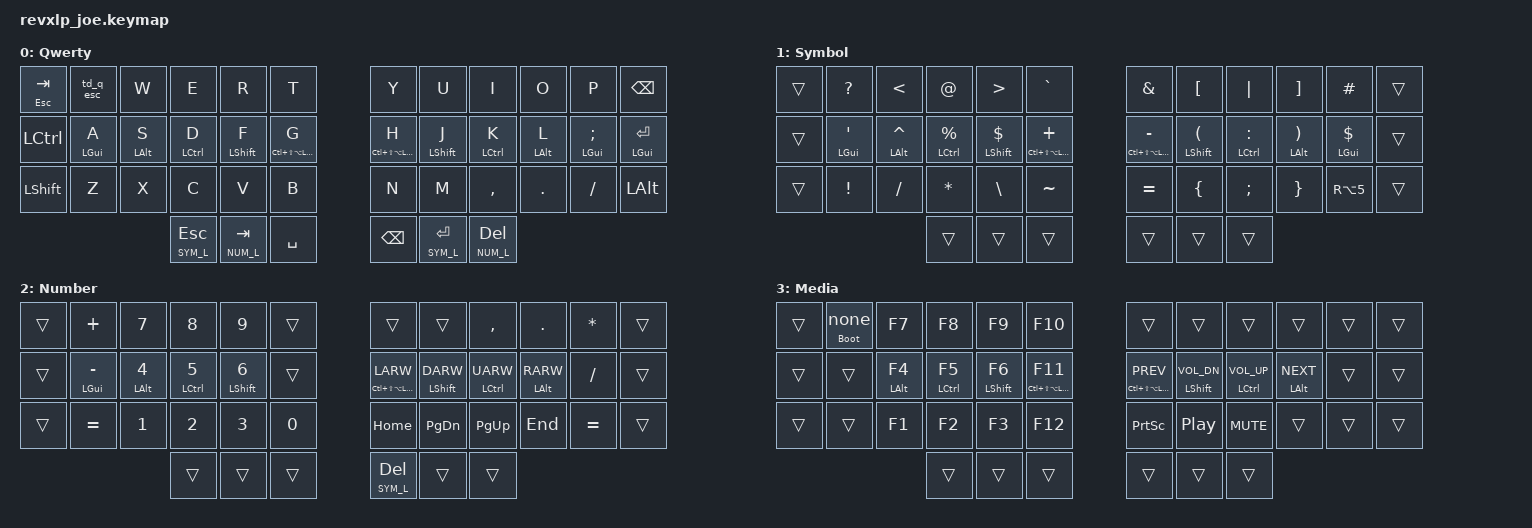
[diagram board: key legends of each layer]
/*
 * Copyright (c) 2020 The ZMK Contributors
 *
 * SPDX-License-Identifier: MIT
 */

#include <behaviors.dtsi>
#include <dt-bindings/zmk/keys.h>
#include <dt-bindings/zmk/bt.h>
#include <dt-bindings/zmk/backlight.h>

#include "./helpers/keypos_42keys.h"

#define SYM_L 1
#define NUM_L 2
#define MED_L 3

#define HYPER       LC(LS(LA(LGUI)))  // hyper key
#define INT_EUR     RA(N5)            // symbol eur

/ {
    tap_dances {
      td_q_esc: td_q_esc {
        compatible = "zmk,behavior-tap-dance";
        #binding-cells = <0>;
        tapping-term-ms = <200>;
        bindings = <&kp Q>, <&kp ESC>; 
      };
      // td_e_find: td_e_find {
      //   compatible = "zmk,behavior-tap-dance";
      //   #binding-cells = <0>;
      //   tapping-term-ms = <200>;
      //   bindings = <&kp E>, <&kp K_FIND>; 
      // };
      // td_y_redo: td_y_redo {
      //   compatible = "zmk,behavior-tap-dance";
      //   #binding-cells = <0>;
      //   tapping-term-ms = <200>;
      //   bindings = <&kp Y>, <&kp K_REDO>; 
      // };
      // td_z_undo: td_z_undo {
      //   compatible = "zmk,behavior-tap-dance";
      //   #binding-cells = <0>;
      //   tapping-term-ms = <200>;
      //   bindings = <&kp Z>, <&kp K_UNDO>; 
      // };
      // td_x_cut: td_x_cut {
      //   compatible = "zmk,behavior-tap-dance";
      //   #binding-cells = <0>;
      //   tapping-term-ms = <200>;
      //   bindings = <&kp X>, <&kp K_CUT>; 
      // };
      // td_c_copy: td_c_copy {
      //   compatible = "zmk,behavior-tap-dance";
      //   #binding-cells = <0>;
      //   tapping-term-ms = <200>;
      //   bindings = <&kp X>, <&kp K_CUT>; 
      // };
      // td_v_paste: td_v_paste {
      //   compatible = "zmk,behavior-tap-dance";
      //   #binding-cells = <0>;
      //   tapping-term-ms = <200>;
      //   bindings = <&kp V>, <&kp K_PASTE>; 
      // };
    };

    behaviors {
        // REF: https://github.com/folke/zmk-config/blob/main/config/includes/mods.dtsi
        hml: homerow_mods_left {
            compatible = "zmk,behavior-hold-tap";
            #binding-cells = <2>;
            bindings = <&kp>, <&kp>;
            flavor = "balanced";
            tapping-term-ms = <280>;
            quick-tap-ms = <175>;
            hold-trigger-key-positions = <RIGHT_HAND THUMBS>;
            hold-trigger-on-release;
            // global-quick-tap-ms = <150>;         // requires PR #1387
            // global-quick-tap;
        };

        hmr: homerow_mods_right {
            compatible = "zmk,behavior-hold-tap";
            #binding-cells = <2>;
            bindings = <&kp>, <&kp>;
            flavor = "balanced";
            tapping-term-ms = <280>;
            quick-tap-ms = <175>;
            hold-trigger-key-positions = <LEFT_HAND THUMBS>;
            hold-trigger-on-release;
            // global-quick-tap-ms = <150>;         // requires PR #1387
            // global-quick-tap;
        };

        blp: bootloader_long_press {
            compatible = "zmk,behavior-hold-tap";
            label = "BOOTLOADER_LONG_PRESS";
            #binding-cells = <2>;
            bindings = <&bootloader>, <&none>;
            tapping-term-ms = <3000>;
        };
    };

    cond_layers {
        compatible = "zmk,conditional-layers";
        tri {
          if-layers = <NUM_L SYM_L>;
          then-layer = <MED_L>;
        };
    };

    combos {
        compatible = "zmk,combos";
        bootloader_combo {
            timeout-ms = <50>;
            key-positions = <5 6>;
            bindings = <&bootloader>;
            layers = <MED_L>;
        };
    };

    keymap {
        compatible = "zmk,keymap";

        qwerty_layer {
            label = "Qwerty";
            bindings = <
&hml ESC TAB  &td_q_esc       &kp W            &kp E               &kp R              &kp T           &kp Y            &kp U              &kp I           &kp O              &kp P          &kp BSPC
&kp LCTRL     &hml LGUI A     &hml LALT S      &hml LCTRL D        &hml LSHFT F       &hml HYPER G    &hmr HYPER H     &hmr LSHFT J       &hmr LCTRL K    &hmr LALT L        &hmr LGUI SEMI &hmr LGUI RET
&kp LSHFT     &kp Z           &kp X            &kp C               &kp V              &kp B           &kp N            &kp M              &kp COMMA       &kp DOT            &kp SLASH      &kp LALT
                                               &lt SYM_L ESC       &lt NUM_L TAB      &kp SPACE       &kp BSPC         &lt SYM_L RET      &lt NUM_L DEL
            >;
        };

        sym_layer {
            label = "Symbol";
            bindings = <
&trans &kp QUESTION    &kp LESS_THAN    &kp AT             &kp GREATER_THAN    &kp GRAVE       &kp AMPERSAND    &kp LEFT_BRACKET  &kp PIPE        &kp RIGHT_BRACKET &kp HASH         &trans
&trans &hml LGUI SQT   &hml LALT CARET  &hml LCTRL PERCENT &hml LSHFT DOLLAR   &hml HYPER PLUS &hmr HYPER MINUS &hmr LSHFT LPAR   &hmr LCTRL COLON &hmr LALT RPAR   &hmr LGUI DOLLAR &trans
&trans &kp EXCLAMATION &kp SLASH        &kp ASTERISK       &kp BACKSLASH       &kp TILDE       &kp EQUAL        &kp LBRC          &kp SEMICOLON   &kp RBRC          &kp INT_EUR      &trans
                                        &trans             &trans              &trans          &trans           &trans            &trans
            >;
        };

        num_layer {
            label = "Number";
            bindings = <
&trans &kp PLUS        &kp N7           &kp N8             &kp N9              &trans          &trans           &trans            &kp COMMA        &kp DOT          &kp ASTERISK     &trans
&trans &hml LGUI MINUS &hml LALT N4     &hmr LCTRL N5      &hml LSHFT N6       &trans          &hmr HYPER LARW  &hmr LSHFT DARW   &hmr LCTRL UARW  &hmr LALT RARW   &kp SLASH        &trans
&trans &kp EQUAL       &kp N1           &kp N2             &kp N3              &kp N0          &kp HOME         &kp PG_DN         &kp PG_UP        &kp END          &kp EQUAL        &trans
                                        &trans             &trans              &trans          &lt SYM_L DEL    &trans            &trans
            >;
        };

        media_layer {
            label = "Media";
            bindings = <
&trans &blp 0 0       &kp F7            &kp F8              &kp F9             &kp F10         &trans           &trans            &trans           &trans           &trans           &trans
&trans &trans         &hml LALT F4      &hml LCTRL F5       &hml LSHFT F6      &hml HYPER F11  &hmr HYPER C_PREV &hmr LSHFT C_VOL_DN &hmr LCTRL C_VOL_UP &hmr LALT C_NEXT &trans     &trans
&trans &trans         &kp F1            &kp F2              &kp F3             &kp F12         &kp PSCRN        &kp C_PLAY_PAUSE  &kp C_MUTE       &trans           &trans           &trans
                                        &trans              &trans             &trans          &trans           &trans            &trans
            >;
        };
    };
};
